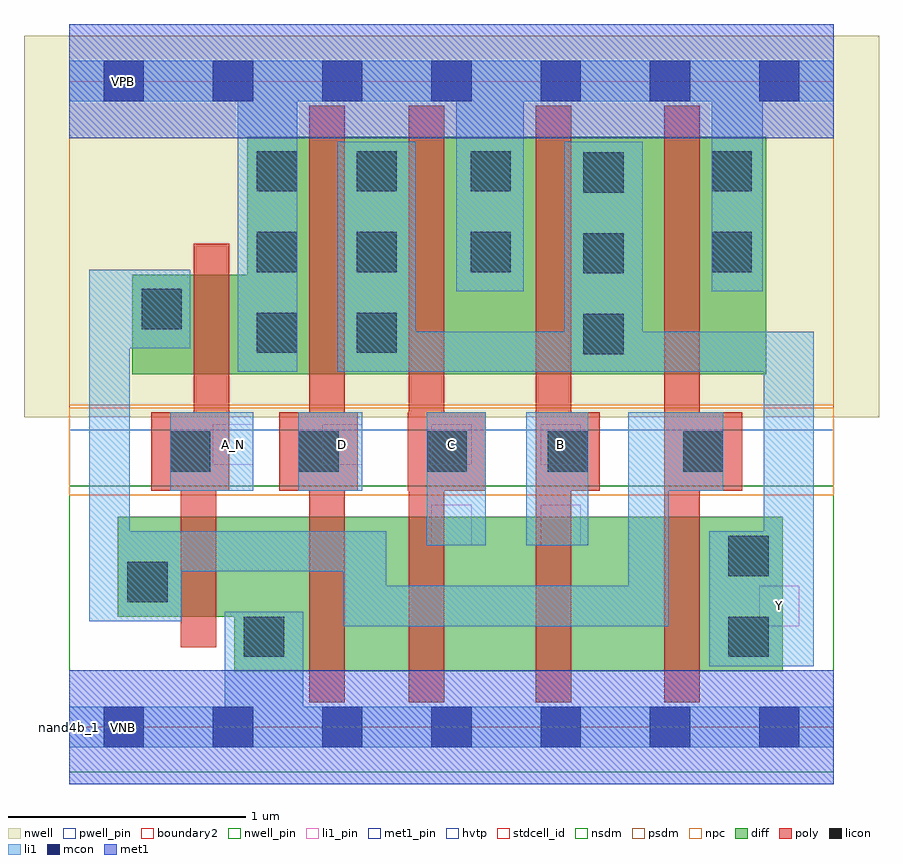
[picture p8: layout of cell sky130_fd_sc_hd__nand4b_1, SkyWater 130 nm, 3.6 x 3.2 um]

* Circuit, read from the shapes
.subckt sky130_fd_sc_hd__nand4b_1 A_N B C D VGND VNB VPB VPWR Y
XM1 VGND A_N n1 VNB sky130_fd_pr__nfet_01v8 w=0.42 l=0.15
XM2 n2 D VGND VNB sky130_fd_pr__nfet_01v8 w=0.65 l=0.15
XM3 n3 C n2 VNB sky130_fd_pr__nfet_01v8 w=0.65 l=0.15
XM4 n4 B n3 VNB sky130_fd_pr__nfet_01v8 w=0.65 l=0.15
XM5 Y n1 n4 VNB sky130_fd_pr__nfet_01v8 w=0.65 l=0.15
XM6 VPWR A_N n1 VPB sky130_fd_pr__pfet_01v8_hvt w=0.42 l=0.15
XM7 Y D VPWR VPB sky130_fd_pr__pfet_01v8_hvt w=1 l=0.15
XM8 VPWR C Y VPB sky130_fd_pr__pfet_01v8_hvt w=1 l=0.15
XM9 Y B VPWR VPB sky130_fd_pr__pfet_01v8_hvt w=1 l=0.15
XM10 VPWR n1 Y VPB sky130_fd_pr__pfet_01v8_hvt w=1 l=0.15
.ends

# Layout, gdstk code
import gdstk
lib = gdstk.Library(unit=1e-6, precision=1e-09)
def R(c, l, rs):  # rectangles x0, y0, x1, y1
    for r in rs: c.add(gdstk.rectangle(r[:2], r[2:], *l))
def A(c, l, x, y, w, h, nx, ny, dx, dy):  # array of equal rectangles
    R(c, l, [(x+i*dx, y+j*dy, x+i*dx+w, y+j*dy+h) for i in range(nx) for j in range(ny)])
def P(c, l, *ps):  # polygons
    for p in ps: c.add(gdstk.Polygon(p, *l))
nwell_pin = (64, 16)
nwell = (64, 20)
diff = (65, 20)
poly = (66, 20)
licon = (66, 44)
li1_pin = (67, 16)
li1 = (67, 20)
mcon = (67, 44)
met1_pin = (68, 16)
met1 = (68, 20)
hvtp = (78, 44)
stdcell_id = (81, 4)
nsdm = (93, 44)
psdm = (94, 20)
npc = (95, 20)
pwell_pin = (122, 16)
boundary2 = (236, 0)

sky130_fd_sc_hd__nand4b_ = lib.new_cell('sky130_fd_sc_hd__nand4b_1')
R(sky130_fd_sc_hd__nand4b_, nwell_pin, [(0.145,2.635,0.315,2.805)])
R(sky130_fd_sc_hd__nand4b_, nwell, [(-0.19,1.305,3.41,2.91)])
P(sky130_fd_sc_hd__nand4b_, diff, [(3.005,0.885),(0.205,0.885),(0.205,0.465),(0.695,0.465),(0.695,0.235),(3.005,0.235)],
  [(2.935,2.485),(0.75,2.485),(0.75,1.905),(0.265,1.905),(0.265,1.485),(2.935,1.485)])
P(sky130_fd_sc_hd__nand4b_, poly, [(0.675,2.035),(0.525,2.035),(0.525,1.325),(0.345,1.325),(0.345,0.995),(0.47,0.995),(0.47,0.335),(0.62,0.335),(0.62,0.995),(0.675,0.995)],
  [(2.235,1.325),(2.115,1.325),(2.115,2.615),(1.965,2.615),(1.965,0.105),(2.115,0.105),(2.115,0.995),(2.235,0.995)],
  [(1.755,1.325),(1.58,1.325),(1.58,2.615),(1.43,2.615),(1.43,1.325),(1.425,1.325),(1.425,0.995),(1.43,0.995),(1.43,0.105),(1.58,0.105),(1.58,0.995),(1.755,0.995)],
  [(2.835,1.325),(2.655,1.325),(2.655,2.615),(2.505,2.615),(2.505,0.105),(2.655,0.105),(2.655,0.995),(2.835,0.995)],
  [(1.215,1.325),(1.16,1.325),(1.16,2.615),(1.01,2.615),(1.01,1.325),(0.885,1.325),(0.885,0.995),(1.01,0.995),(1.01,0.105),(1.16,0.105),(1.16,0.995),(1.215,0.995)])
A(sky130_fd_sc_hd__nand4b_, licon, 0.425, 1.075, 0.17, 0.17, 3, 1, 0.54, 0)
A(sky130_fd_sc_hd__nand4b_, licon, 2.165, 1.57, 0.17, 0.17, 1, 3, 0, 0.34)
A(sky130_fd_sc_hd__nand4b_, licon, 0.79, 1.575, 0.17, 0.17, 1, 3, 0, 0.34)
A(sky130_fd_sc_hd__nand4b_, licon, 1.21, 1.575, 0.17, 0.17, 1, 3, 0, 0.34)
R(sky130_fd_sc_hd__nand4b_, licon, [(0.735,0.295,0.905,0.465), (2.775,0.295,2.945,0.465), (0.245,0.525,0.415,0.695), (2.775,0.635,2.945,0.805), (2.015,1.075,2.185,1.245), (2.585,1.075,2.755,1.245), (0.305,1.675,0.475,1.845), (1.69,1.915,1.86,2.085), (2.705,1.915,2.875,2.085), (1.69,2.255,1.86,2.425), (2.705,2.255,2.875,2.425)])
A(sky130_fd_sc_hd__nand4b_, li1_pin, 0.605, 1.105, 0.17, 0.17, 4, 1, 0.46, 0)
R(sky130_fd_sc_hd__nand4b_, li1_pin, [(2.905,0.425,3.075,0.595), (1.525,0.765,1.695,0.935), (1.985,0.765,2.155,0.935)])
R(sky130_fd_sc_hd__nand4b_, li1, [(1.505,0.765,1.755,1.325), (1.925,0.765,2.185,1.325), (0.425,0.995,0.775,1.325), (0.965,0.995,1.235,1.325)])
P(sky130_fd_sc_hd__nand4b_, li1, [(3.22,0.085),(0.985,0.085),(0.985,0.485),(0.655,0.485),(0.655,0.085),(0,0.085),(0,-0.085),(3.22,-0.085)],
  [(3.22,2.805),(0,2.805),(0,2.635),(0.71,2.635),(0.71,1.495),(0.96,1.495),(0.96,2.635),(1.63,2.635),(1.63,1.835),(1.915,1.835),(1.915,2.635),(2.705,2.635),(2.705,1.835),(2.92,1.835),(2.92,2.635),(3.22,2.635)],
  [(3.135,1.665),(2.415,1.665),(2.415,2.465),(2.085,2.465),(2.085,1.665),(1.46,1.665),(1.46,2.465),(1.13,2.465),(1.13,1.495),(2.925,1.495),(2.925,0.825),(2.695,0.825),(2.695,0.255),(3.135,0.255)],
  [(2.755,1.325),(2.355,1.325),(2.355,0.595),(1.335,0.595),(1.335,0.825),(0.255,0.825),(0.255,1.595),(0.51,1.595),(0.51,1.925),(0.085,1.925),(0.085,0.445),(0.475,0.445),(0.475,0.655),(1.155,0.655),(1.155,0.425),(2.525,0.425),(2.525,0.995),(2.755,0.995)])
A(sky130_fd_sc_hd__nand4b_, mcon, 0.145, -0.085, 0.17, 0.17, 7, 2, 0.46, 2.72)
R(sky130_fd_sc_hd__nand4b_, met1_pin, [(0.145,-0.085,0.315,0.085), (0.145,2.635,0.315,2.805)])
R(sky130_fd_sc_hd__nand4b_, hvtp, [(0,1.25,3.22,2.72)])
R(sky130_fd_sc_hd__nand4b_, stdcell_id, [(0,0,3.22,2.72)])
R(sky130_fd_sc_hd__nand4b_, nsdm, [(0,-0.19,3.22,1.015)])
R(sky130_fd_sc_hd__nand4b_, psdm, [(0,1.355,3.22,2.91)])
R(sky130_fd_sc_hd__nand4b_, npc, [(0,0.975,3.22,1.345)])
R(sky130_fd_sc_hd__nand4b_, pwell_pin, [(0.145,-0.085,0.315,0.085)])
R(sky130_fd_sc_hd__nand4b_, boundary2, [(0,0,3.22,2.72)])
sky130_fd_sc_hd__nand4b_.add(gdstk.FlexPath([(0,2.72),(3.22,2.72)], 0.48, ends="flush", simple_path=True, layer=68, datatype=20))  # met1
sky130_fd_sc_hd__nand4b_.add(gdstk.FlexPath([(0,0),(3.22,0)], 0.48, ends="flush", simple_path=True, layer=68, datatype=20))  # met1
sky130_fd_sc_hd__nand4b_.add(gdstk.Label('Y', (2.99,0.51), layer=67, texttype=5))
sky130_fd_sc_hd__nand4b_.add(gdstk.Label('C', (1.61,1.19), layer=67, texttype=5))
sky130_fd_sc_hd__nand4b_.add(gdstk.Label('D', (1.15,1.19), layer=67, texttype=5))
sky130_fd_sc_hd__nand4b_.add(gdstk.Label('A_N', (0.69,1.19), layer=67, texttype=5))
sky130_fd_sc_hd__nand4b_.add(gdstk.Label('B', (2.07,1.19), layer=67, texttype=5))
sky130_fd_sc_hd__nand4b_.add(gdstk.Label('VPB', (0.23,2.72), layer=64, texttype=5))
sky130_fd_sc_hd__nand4b_.add(gdstk.Label('VNB', (0.23,0), layer=64, texttype=59))
sky130_fd_sc_hd__nand4b_.add(gdstk.Label('VGND', (0.23,0), layer=68, texttype=5))
sky130_fd_sc_hd__nand4b_.add(gdstk.Label('VPWR', (0.23,2.72), layer=68, texttype=5))
sky130_fd_sc_hd__nand4b_.add(gdstk.Label('nand4b_1', (0,0), layer=83, texttype=44))

lib.write_gds('sky130_fd_sc_hd__nand4b_1.gds')
